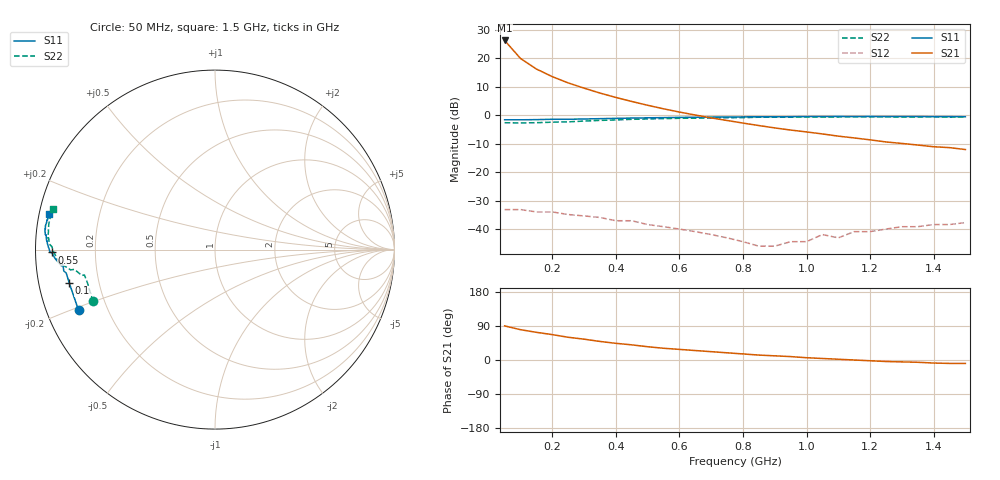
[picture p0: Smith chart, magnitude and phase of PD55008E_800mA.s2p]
! freq mag(S11) phase(S11) mag(S12) phase(S12)
!  mag(S21) phase(S21) mag(S22) phase(S22)
! Vdd= 12.5 V, Idq = 800mA
!s-parameter data
#  MHz  S  MA  R 50
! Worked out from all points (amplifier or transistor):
!   30 points, 50 MHz to 1.5 GHz, reference 50 ohm
!   highest |S21| = 26.3 dB at 50 MHz (marker M1)
!   |S21| within 3 dB of that: start of sweep to 73.7 MHz
!   unconditionally stable (mu >= 1): 696.4 MHz to end of sweep
!   at 300 MHz: K = 0.33, MSG = 22.5 dB, |S12| = -35.4 dB
!   at 800 MHz: K = 1.63, MAG = 16.2 dB, |S12| = -44.4 dB
!   at 1.5 GHz: K = 2.08, MAG = 6.9 dB, |S12| = -37.7 dB
!   S11 on the Smith chart (normalised r, x): 50 MHz: 0.10, -0.21; 100 MHz: 0.09, -0.11; 550 MHz: 0.05, -0.01; 1.5 GHz: 0.03, +0.11
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50  0.832 -156.0  20.68 90.0  0.022 3.0  0.74 -157.0
100  0.833 -167.0  9.98 80.0  0.022 -6.0  0.734 -165.0
150  0.839 -171.0  6.51 73.0  0.02 -11.0  0.741 -169.0
200  0.851 -172.0  4.78 67.0  0.02 -16.0  0.756 -169.0
250  0.851 -174.0  3.71 60.0  0.018 -20.0  0.767 -170.0
300  0.861 -174.0  3 55.0  0.017 -22.0  0.791 -172.0
350  0.872 -175.0  2.46 49.0  0.016 -23.0  0.813 -172.0
400  0.883 -176.0  2.06 44.0  0.014 -26.0  0.828 -173.0
450  0.894 -177.0  1.75 40.0  0.014 -26.0  0.849 -174.0
500  0.902 -178.0  1.5 35.0  0.012 -26.0  0.863 -175.0
550  0.91 -179.0  1.3 31.0  0.011 -27.0  0.874 -176.0
650  0.923 180.0  1.01 25.0  0.009 -25.0  0.89 -178.0
800  0.937 177.0  0.73 16.0  0.006 -3.0  0.908 179.0
850  0.939 177.0  0.66 13.0  0.005 11.0  0.925 178.0
900  0.942 176.0  0.6 11.0  0.005 17.0  0.926 177.0
950  0.944 175.0  0.55 9.0  0.006 20.0  0.929 176.0
1000  0.949 175.0  0.51 6.0  0.006 25.0  0.935 176.0
1050  0.952 174.0  0.47 4.0  0.008 35.0  0.933 174.0
1100  0.954 173.0  0.43 2.0  0.007 38.0  0.935 173.0
1150  0.952 173.0  0.4 0.0  0.009 48.0  0.936 173.0
1300  0.95 171.0  0.32 -5.0  0.011 51.0  0.935 170.0
1500  0.944 168.0  0.25 -9.0  0.013 67.0  0.933 166.0
